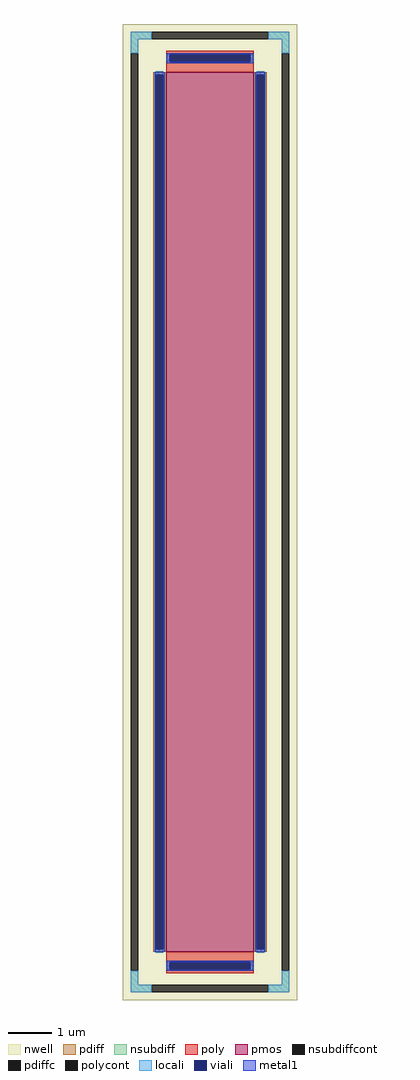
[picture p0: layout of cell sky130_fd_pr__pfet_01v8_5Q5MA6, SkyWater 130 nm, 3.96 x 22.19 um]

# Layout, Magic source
magic
tech sky130A
magscale 1 2
<< nwell >>
rect -396 -2219 396 2219
<< pmos >>
rect -200 -2000 200 2000
<< pdiff >>
rect -258 1988 -200 2000
rect -258 -1988 -246 1988
rect -212 -1988 -200 1988
rect -258 -2000 -200 -1988
rect 200 1988 258 2000
rect 200 -1988 212 1988
rect 246 -1988 258 1988
rect 200 -2000 258 -1988
<< pdiffc >>
rect -246 -1988 -212 1988
rect 212 -1988 246 1988
<< nsubdiff >>
rect -360 2149 -264 2183
rect 264 2149 360 2183
rect -360 2087 -326 2149
rect 326 2087 360 2149
rect -360 -2149 -326 -2087
rect 326 -2149 360 -2087
rect -360 -2183 -264 -2149
rect 264 -2183 360 -2149
<< nsubdiffcont >>
rect -264 2149 264 2183
rect -360 -2087 -326 2087
rect 326 -2087 360 2087
rect -264 -2183 264 -2149
<< poly >>
rect -200 2081 200 2097
rect -200 2047 -184 2081
rect 184 2047 200 2081
rect -200 2000 200 2047
rect -200 -2047 200 -2000
rect -200 -2081 -184 -2047
rect 184 -2081 200 -2047
rect -200 -2097 200 -2081
<< polycont >>
rect -184 2047 184 2081
rect -184 -2081 184 -2047
<< locali >>
rect -360 2149 -264 2183
rect 264 2149 360 2183
rect -360 2087 -326 2149
rect 326 2087 360 2149
rect -200 2047 -184 2081
rect 184 2047 200 2081
rect -246 1988 -212 2004
rect -246 -2004 -212 -1988
rect 212 1988 246 2004
rect 212 -2004 246 -1988
rect -200 -2081 -184 -2047
rect 184 -2081 200 -2047
rect -360 -2149 -326 -2087
rect 326 -2149 360 -2087
rect -360 -2183 -264 -2149
rect 264 -2183 360 -2149
<< viali >>
rect -184 2047 184 2081
rect -246 -1988 -212 1988
rect 212 -1988 246 1988
rect -184 -2081 184 -2047
<< metal1 >>
rect -196 2081 196 2087
rect -196 2047 -184 2081
rect 184 2047 196 2081
rect -196 2041 196 2047
rect -252 1988 -206 2000
rect -252 -1988 -246 1988
rect -212 -1988 -206 1988
rect -252 -2000 -206 -1988
rect 206 1988 252 2000
rect 206 -1988 212 1988
rect 246 -1988 252 1988
rect 206 -2000 252 -1988
rect -196 -2047 196 -2041
rect -196 -2081 -184 -2047
rect 184 -2081 196 -2047
rect -196 -2087 196 -2081
<< properties >>
string FIXED_BBOX -343 -2166 343 2166
string gencell sky130_fd_pr__pfet_01v8
string library sky130
string parameters w 20.0 l 2.0 m 1 nf 1 diffcov 100 polycov 100 guard 1 glc 1 grc 1 gtc 1 gbc 1 tbcov 100 rlcov 100 topc 1 botc 1 poverlap 0 doverlap 1 lmin 0.15 wmin 0.42 compatible {sky130_fd_pr__pfet_01v8  sky130_fd_pr__pfet_01v8_lvt sky130_fd_pr__pfet_01v8_hvt  sky130_fd_pr__pfet_g5v0d10v5} full_metal 1 viasrc 100 viadrn 100 viagate 100 viagb 0 viagr 0 viagl 0 viagt 0
<< end >>
